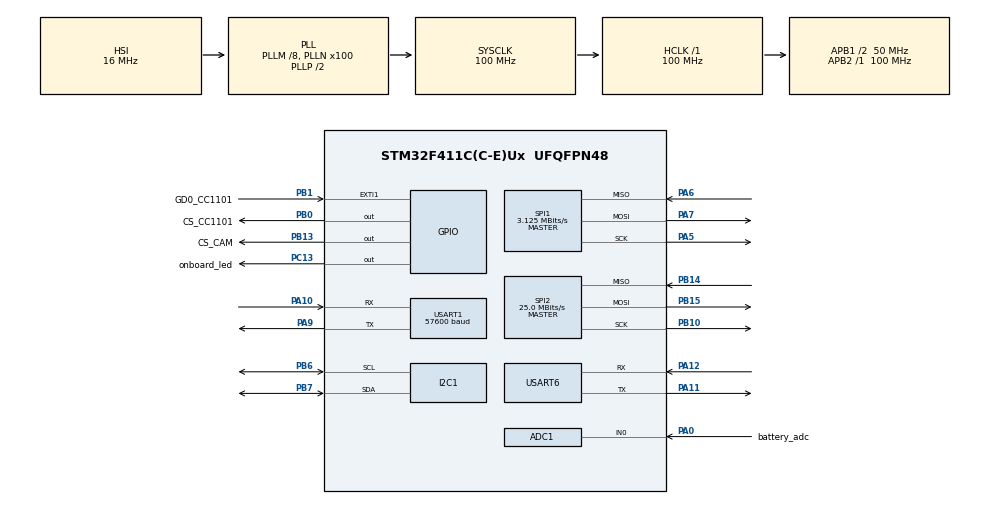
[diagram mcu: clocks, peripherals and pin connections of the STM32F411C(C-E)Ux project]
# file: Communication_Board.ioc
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ADC1.Channel-0\#ChannelRegularConversion=ADC_CHANNEL_0
ADC1.NbrOfConversionFlag=1
ADC1.Rank-0\#ChannelRegularConversion=1
ADC1.SamplingTime-0\#ChannelRegularConversion=ADC_SAMPLETIME_3CYCLES
ADC1.master=1
FREERTOS.Mutexes01=sensorDataMutex,Dynamic,NULL,Available
FREERTOS.Tasks01=heartBeatTask,8,128,StartHeartBeatTask,Default,NULL,Dynamic,NULL,NULL;radioTask,40,128,StartRadioTask,Default,NULL,Dynamic,NULL,NULL;senseTask,8,128,StartSenseTask,Default,NULL,Dynamic,NULL,NULL;opticalTask,24,128,StartOpticalTask,Default,NULL,Dynamic,NULL,NULL
I2C1.I2C_Mode=I2C_Standard
Mcu.Family=STM32F4
Mcu.Name=STM32F411C(C-E)Ux
Mcu.Package=UFQFPN48
NVIC.EXTI1_IRQn=true\:5\:0\:false\:false\:true\:true\:true\:true\:true
NVIC.PriorityGroup=NVIC_PRIORITYGROUP_4
NVIC.TIM1_TRG_COM_TIM11_IRQn=true\:15\:0\:false\:false\:true\:false\:false\:true\:true
NVIC.TimeBase=TIM1_TRG_COM_TIM11_IRQn
NVIC.TimeBaseIP=TIM11
PA0-WKUP.GPIO_Label=battery_adc
PA0-WKUP.Signal=ADCx_IN0
PA10.Mode=IrDA
PA10.Signal=USART1_RX
PA11.Mode=Asynchronous
PA11.Signal=USART6_TX
PA12.Mode=Asynchronous
PA12.Signal=USART6_RX
PA13.Mode=Serial_Wire
PA13.Signal=SYS_JTMS-SWDIO
PA14.Mode=Serial_Wire
PA14.Signal=SYS_JTCK-SWCLK
PA5.Mode=Full_Duplex_Master
PA5.Signal=SPI1_SCK
PA6.Mode=Full_Duplex_Master
PA6.Signal=SPI1_MISO
PA7.Mode=Full_Duplex_Master
PA7.Signal=SPI1_MOSI
PA9.Mode=IrDA
PA9.Signal=USART1_TX
PB0.GPIO_Label=CS_CC1101
PB0.Signal=GPIO_Output
PB1.GPIO_Label=GD0_CC1101
PB1.Signal=GPXTI1
PB10.Mode=Full_Duplex_Master
PB10.Signal=SPI2_SCK
PB13.GPIO_Label=CS_CAM
PB13.Signal=GPIO_Output
PB14.Mode=Full_Duplex_Master
PB14.Signal=SPI2_MISO
PB15.Mode=Full_Duplex_Master
PB15.Signal=SPI2_MOSI
PB6.Mode=I2C
PB6.Signal=I2C1_SCL
PB7.Mode=I2C
PB7.Signal=I2C1_SDA
PC13-ANTI_TAMP.GPIO_Label=onboard_led
PC13-ANTI_TAMP.Signal=GPIO_Output
ProjectManager.HeapSize=0x200
ProjectManager.StackSize=0x400
ProjectManager.TargetToolchain=CMake
RCC.48MHZClocksFreq_Value=50000000
RCC.AHBFreq_Value=100000000
RCC.APB1CLKDivider=RCC_HCLK_DIV2
RCC.APB1Freq_Value=50000000
RCC.APB1TimFreq_Value=100000000
RCC.APB2Freq_Value=100000000
RCC.APB2TimFreq_Value=100000000
RCC.CortexFreq_Value=100000000
RCC.HCLKFreq_Value=100000000
RCC.HSE_VALUE=25000000
RCC.HSI_VALUE=16000000
RCC.LSE_VALUE=32768
RCC.PLLM=8
RCC.PLLN=100
RCC.SYSCLKFreq_VALUE=100000000
RCC.SYSCLKSource=RCC_SYSCLKSOURCE_PLLCLK
RCC.VCOOutputFreq_Value=200000000
SH.ADCx_IN0.0=ADC1_IN0,IN0
SPI1.BaudRatePrescaler=SPI_BAUDRATEPRESCALER_32
SPI1.CalculateBaudRate=3.125 MBits/s
SPI1.Direction=SPI_DIRECTION_2LINES
SPI1.Mode=SPI_MODE_MASTER
SPI1.VirtualType=VM_MASTER
SPI2.CalculateBaudRate=25.0 MBits/s
SPI2.Direction=SPI_DIRECTION_2LINES
SPI2.Mode=SPI_MODE_MASTER
SPI2.VirtualType=VM_MASTER
USART1.BaudRate=57600
USART1.Mode=MODE_TX
USART1.VirtualMode=VM_IRDA
USART6.VirtualMode=VM_ASYNC
VP_FREERTOS_VS_CMSIS_V2.Mode=CMSIS_V2
VP_SYS_VS_tim11.Mode=TIM11
board=custom

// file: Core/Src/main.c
/* USER CODE BEGIN Header */
/**
  ******************************************************************************
  * @file           : main.c
  * @brief          : Main program body
  ******************************************************************************
  * @attention
  *
  * Copyright (c) 2026 STMicroelectronics.
  * All rights reserved.
  *
  * This software is licensed under terms that can be found in the LICENSE file
  * in the root directory of this software component.
  * If no LICENSE file comes with this software, it is provided AS-IS.
  *
  ******************************************************************************
  */
/* USER CODE END Header */
#include "main.h"
#include "cmsis_os.h"

/* USER CODE BEGIN Includes */
#include "cmsis_os2.h"
#include "stm32_hal_legacy.h"
#include <stdint.h>
#include "cc1101.h"
#include "mcp9808.h"
#include "stm32f4xx_hal_adc.h"
#include "stm32f4xx_hal_def.h"
#include "stm32f4xx_hal_i2c.h"
#include "stm32f4xx_hal_irda.h"
#include "stm32f4xx_hal_uart.h"
/* USER CODE END Includes */

/* USER CODE BEGIN PTD */
typedef struct {
  uint8_t cc1101_version;
  uint8_t cc1101_partnum;
  uint8_t rssi;
  uint8_t rx_buffer[64];
  uint8_t tx_buffer[64];
} RadioTaskContext_t;

typedef struct {
  float temperature_c;
  float battery_voltage;
  uint8_t battery_percentage;
} SenseTaskContext_t;

typedef struct __attribute__((packed)) {
  float temperature_c;
  float battery_voltage;
  uint8_t battery_percentage;
} TelemetryPacket_t;

typedef struct {
  uint8_t tx_counter;
} OpticalTaskContext_t;
/* USER CODE END PTD */

ADC_HandleTypeDef hadc1;

I2C_HandleTypeDef hi2c1;

SPI_HandleTypeDef hspi1;
SPI_HandleTypeDef hspi2;

IRDA_HandleTypeDef hirda1;
UART_HandleTypeDef huart6;

/* Definitions for heartBeatTask */
osThreadId_t heartBeatTaskHandle;
const osThreadAttr_t heartBeatTask_attributes = {
  .name = "heartBeatTask",
  .stack_size = 128 * 4,
  .priority = (osPriority_t) osPriorityLow,
};
/* Definitions for radioTask */
osThreadId_t radioTaskHandle;
const osThreadAttr_t radioTask_attributes = {
  .name = "radioTask",
  .stack_size = 128 * 4,
  .priority = (osPriority_t) osPriorityHigh,
};
/* Definitions for senseTask */
osThreadId_t senseTaskHandle;
const osThreadAttr_t senseTask_attributes = {
  .name = "senseTask",
  .stack_size = 128 * 4,
  .priority = (osPriority_t) osPriorityLow,
};
/* Definitions for opticalTask */
osThreadId_t opticalTaskHandle;
const osThreadAttr_t opticalTask_attributes = {
  .name = "opticalTask",
  .stack_size = 128 * 4,
  .priority = (osPriority_t) osPriorityNormal,
};
/* Definitions for sensorDataMutex */
osMutexId_t sensorDataMutexHandle;
const osMutexAttr_t sensorDataMutex_attributes = {
  .name = "sensorDataMutex"
};
/* USER CODE BEGIN PV */
static RadioTaskContext_t radio_ctx = {
  .cc1101_version = 0,
  .cc1101_partnum = 0
};

static SenseTaskContext_t sense_ctx = {
  .temperature_c = 0.0f
};

static TelemetryPacket_t telemetry_packet = {
  .temperature_c = 0.0f,
  .battery_voltage = 0.0f,
  .battery_percentage = 0
};

static OpticalTaskContext_t optical_context = {0};
/* USER CODE END PV */

void SystemClock_Config(void);
static void MX_GPIO_Init(void);
static void MX_I2C1_Init(void);
static void MX_SPI1_Init(void);
static void MX_SPI2_Init(void);
static void MX_USART1_IRDA_Init(void);
static void MX_ADC1_Init(void);
static void MX_USART6_UART_Init(void);
void StartHeartBeatTask(void *argument);
void StartRadioTask(void *argument);
void StartSenseTask(void *argument);
void StartOpticalTask(void *argument);

int main(void)
{

  /* MCU Configuration--------------------------------------------------------*/

  /* Reset of all peripherals, Initializes the Flash interface and the Systick. */
  HAL_Init();

  /* Configure the system clock */
  SystemClock_Config();

  /* Initialize all configured peripherals */
  MX_GPIO_Init();
  MX_I2C1_Init();
  MX_SPI1_Init();
  MX_SPI2_Init();
  MX_USART1_IRDA_Init();
  MX_ADC1_Init();
  MX_USART6_UART_Init();

  /* Init scheduler */
  osKernelInitialize();
  /* Create the mutex(es) */
  /* creation of sensorDataMutex */
  sensorDataMutexHandle = osMutexNew(&sensorDataMutex_attributes);

  /* Create the thread(s) */
  /* creation of heartBeatTask */
  heartBeatTaskHandle = osThreadNew(StartHeartBeatTask, NULL, &heartBeatTask_attributes);

  /* creation of radioTask */
  radioTaskHandle = osThreadNew(StartRadioTask, NULL, &radioTask_attributes);

  /* creation of senseTask */
  senseTaskHandle = osThreadNew(StartSenseTask, NULL, &senseTask_attributes);

  /* creation of opticalTask */
  opticalTaskHandle = osThreadNew(StartOpticalTask, NULL, &opticalTask_attributes);

  /* Start scheduler */
  osKernelStart();

  /* We should never get here as control is now taken by the scheduler */

  /* Infinite loop */
  while (1)
  {

  }
}

void SystemClock_Config(void)
{
  RCC_OscInitTypeDef RCC_OscInitStruct = {0};
  RCC_ClkInitTypeDef RCC_ClkInitStruct = {0};

  /** Configure the main internal regulator output voltage
  */
  __HAL_RCC_PWR_CLK_ENABLE();
  __HAL_PWR_VOLTAGESCALING_CONFIG(PWR_REGULATOR_VOLTAGE_SCALE1);

  /** Initializes the RCC Oscillators according to the specified parameters
  * in the RCC_OscInitTypeDef structure.
  */
  RCC_OscInitStruct.OscillatorType = RCC_OSCILLATORTYPE_HSI;
  RCC_OscInitStruct.HSIState = RCC_HSI_ON;
  RCC_OscInitStruct.HSICalibrationValue = RCC_HSICALIBRATION_DEFAULT;
  RCC_OscInitStruct.PLL.PLLState = RCC_PLL_ON;
  RCC_OscInitStruct.PLL.PLLSource = RCC_PLLSOURCE_HSI;
  RCC_OscInitStruct.PLL.PLLM = 8;
  RCC_OscInitStruct.PLL.PLLN = 100;
  RCC_OscInitStruct.PLL.PLLP = RCC_PLLP_DIV2;
  RCC_OscInitStruct.PLL.PLLQ = 4;
  if (HAL_RCC_OscConfig(&RCC_OscInitStruct) != HAL_OK)
  {
    Error_Handler();
  }

  /** Initializes the CPU, AHB and APB buses clocks
  */
  RCC_ClkInitStruct.ClockType = RCC_CLOCKTYPE_HCLK|RCC_CLOCKTYPE_SYSCLK
                              |RCC_CLOCKTYPE_PCLK1|RCC_CLOCKTYPE_PCLK2;
  RCC_ClkInitStruct.SYSCLKSource = RCC_SYSCLKSOURCE_PLLCLK;
  RCC_ClkInitStruct.AHBCLKDivider = RCC_SYSCLK_DIV1;
  RCC_ClkInitStruct.APB1CLKDivider = RCC_HCLK_DIV2;
  RCC_ClkInitStruct.APB2CLKDivider = RCC_HCLK_DIV1;

  if (HAL_RCC_ClockConfig(&RCC_ClkInitStruct, FLASH_LATENCY_3) != HAL_OK)
  {
    Error_Handler();
  }
}

static void MX_ADC1_Init(void)
{

  ADC_ChannelConfTypeDef sConfig = {0};

  /** Configure the global features of the ADC (Clock, Resolution, Data Alignment and number of conversion)
  */
  hadc1.Instance = ADC1;
  hadc1.Init.ClockPrescaler = ADC_CLOCK_SYNC_PCLK_DIV4;
  hadc1.Init.Resolution = ADC_RESOLUTION_12B;
  hadc1.Init.ScanConvMode = DISABLE;
  hadc1.Init.ContinuousConvMode = DISABLE;
  hadc1.Init.DiscontinuousConvMode = DISABLE;
  hadc1.Init.ExternalTrigConvEdge = ADC_EXTERNALTRIGCONVEDGE_NONE;
  hadc1.Init.ExternalTrigConv = ADC_SOFTWARE_START;
  hadc1.Init.DataAlign = ADC_DATAALIGN_RIGHT;
  hadc1.Init.NbrOfConversion = 1;
  hadc1.Init.DMAContinuousRequests = DISABLE;
  hadc1.Init.EOCSelection = ADC_EOC_SINGLE_CONV;
  if (HAL_ADC_Init(&hadc1) != HAL_OK)
  {
    Error_Handler();
  }

  /** Configure for the selected ADC regular channel its corresponding rank in the sequencer and its sample time.
  */
  sConfig.Channel = ADC_CHANNEL_0;
  sConfig.Rank = 1;
  sConfig.SamplingTime = ADC_SAMPLETIME_3CYCLES;
  if (HAL_ADC_ConfigChannel(&hadc1, &sConfig) != HAL_OK)
  {
    Error_Handler();
  }

}

static void MX_I2C1_Init(void)
{

  hi2c1.Instance = I2C1;
  hi2c1.Init.ClockSpeed = 100000;
  hi2c1.Init.DutyCycle = I2C_DUTYCYCLE_2;
  hi2c1.Init.OwnAddress1 = 0;
  hi2c1.Init.AddressingMode = I2C_ADDRESSINGMODE_7BIT;
  hi2c1.Init.DualAddressMode = I2C_DUALADDRESS_DISABLE;
  hi2c1.Init.OwnAddress2 = 0;
  hi2c1.Init.GeneralCallMode = I2C_GENERALCALL_DISABLE;
  hi2c1.Init.NoStretchMode = I2C_NOSTRETCH_DISABLE;
  if (HAL_I2C_Init(&hi2c1) != HAL_OK)
  {
    Error_Handler();
  }

}

static void MX_SPI1_Init(void)
{

  /* SPI1 parameter configuration*/
  hspi1.Instance = SPI1;
  hspi1.Init.Mode = SPI_MODE_MASTER;
  hspi1.Init.Direction = SPI_DIRECTION_2LINES;
  hspi1.Init.DataSize = SPI_DATASIZE_8BIT;
  hspi1.Init.CLKPolarity = SPI_POLARITY_LOW;
  hspi1.Init.CLKPhase = SPI_PHASE_1EDGE;
  hspi1.Init.NSS = SPI_NSS_SOFT;
  hspi1.Init.BaudRatePrescaler = SPI_BAUDRATEPRESCALER_32;
  hspi1.Init.FirstBit = SPI_FIRSTBIT_MSB;
  hspi1.Init.TIMode = SPI_TIMODE_DISABLE;
  hspi1.Init.CRCCalculation = SPI_CRCCALCULATION_DISABLE;
  hspi1.Init.CRCPolynomial = 10;
  if (HAL_SPI_Init(&hspi1) != HAL_OK)
  {
    Error_Handler();
  }

}

static void MX_SPI2_Init(void)
{

  /* SPI2 parameter configuration*/
  hspi2.Instance = SPI2;
  hspi2.Init.Mode = SPI_MODE_MASTER;
  hspi2.Init.Direction = SPI_DIRECTION_2LINES;
  hspi2.Init.DataSize = SPI_DATASIZE_8BIT;
  hspi2.Init.CLKPolarity = SPI_POLARITY_LOW;
  hspi2.Init.CLKPhase = SPI_PHASE_1EDGE;
  hspi2.Init.NSS = SPI_NSS_SOFT;
  hspi2.Init.BaudRatePrescaler = SPI_BAUDRATEPRESCALER_2;
  hspi2.Init.FirstBit = SPI_FIRSTBIT_MSB;
  hspi2.Init.TIMode = SPI_TIMODE_DISABLE;
  hspi2.Init.CRCCalculation = SPI_CRCCALCULATION_DISABLE;
  hspi2.Init.CRCPolynomial = 10;
  if (HAL_SPI_Init(&hspi2) != HAL_OK)
  {
    Error_Handler();
  }

}

static void MX_USART1_IRDA_Init(void)
{

  hirda1.Instance = USART1;
  hirda1.Init.BaudRate = 57600;
  hirda1.Init.WordLength = IRDA_WORDLENGTH_8B;
  hirda1.Init.Parity = IRDA_PARITY_NONE;
  hirda1.Init.Mode = IRDA_MODE_TX;
  hirda1.Init.Prescaler = 1;
  hirda1.Init.IrDAMode = IRDA_POWERMODE_NORMAL;
  if (HAL_IRDA_Init(&hirda1) != HAL_OK)
  {
    Error_Handler();
  }

}

static void MX_USART6_UART_Init(void)
{

  huart6.Instance = USART6;
  huart6.Init.BaudRate = 115200;
  huart6.Init.WordLength = UART_WORDLENGTH_8B;
  huart6.Init.StopBits = UART_STOPBITS_1;
  huart6.Init.Parity = UART_PARITY_NONE;
  huart6.Init.Mode = UART_MODE_TX_RX;
  huart6.Init.HwFlowCtl = UART_HWCONTROL_NONE;
  huart6.Init.OverSampling = UART_OVERSAMPLING_16;
  if (HAL_UART_Init(&huart6) != HAL_OK)
  {
    Error_Handler();
  }

}

static void MX_GPIO_Init(void)
{
  GPIO_InitTypeDef GPIO_InitStruct = {0};

  /* GPIO Ports Clock Enable */
  __HAL_RCC_GPIOC_CLK_ENABLE();
  __HAL_RCC_GPIOA_CLK_ENABLE();
  __HAL_RCC_GPIOB_CLK_ENABLE();

  /*Configure GPIO pin Output Level */
  HAL_GPIO_WritePin(onboard_led_GPIO_Port, onboard_led_Pin, GPIO_PIN_RESET);

  /*Configure GPIO pin Output Level */
  HAL_GPIO_WritePin(GPIOB, CS_CC1101_Pin|CS_CAM_Pin, GPIO_PIN_RESET);

  /*Configure GPIO pin : onboard_led_Pin */
  GPIO_InitStruct.Pin = onboard_led_Pin;
  GPIO_InitStruct.Mode = GPIO_MODE_OUTPUT_PP;
  GPIO_InitStruct.Pull = GPIO_NOPULL;
  GPIO_InitStruct.Speed = GPIO_SPEED_FREQ_LOW;
  HAL_GPIO_Init(onboard_led_GPIO_Port, &GPIO_InitStruct);

  /*Configure GPIO pins : CS_CC1101_Pin CS_CAM_Pin */
  GPIO_InitStruct.Pin = CS_CC1101_Pin|CS_CAM_Pin;
  GPIO_InitStruct.Mode = GPIO_MODE_OUTPUT_PP;
  GPIO_InitStruct.Pull = GPIO_NOPULL;
  GPIO_InitStruct.Speed = GPIO_SPEED_FREQ_LOW;
  HAL_GPIO_Init(GPIOB, &GPIO_InitStruct);

  /*Configure GPIO pin : GD0_CC1101_Pin */
  GPIO_InitStruct.Pin = GD0_CC1101_Pin;
  GPIO_InitStruct.Mode = GPIO_MODE_IT_RISING;
  GPIO_InitStruct.Pull = GPIO_NOPULL;
  HAL_GPIO_Init(GD0_CC1101_GPIO_Port, &GPIO_InitStruct);

  /* EXTI interrupt init*/
  HAL_NVIC_SetPriority(EXTI1_IRQn, 5, 0);
  HAL_NVIC_EnableIRQ(EXTI1_IRQn);

}

/* USER CODE BEGIN 4 */

float Calculate_Battery_Voltage(uint16_t raw_adc) {
    return (float)raw_adc * 0.00117216f;
}

uint8_t Calculate_Battery_Percentage(float voltage) {
    // 1. Above max threshold (Charging or fully charged)
    if (voltage >= 4.20f) return 100;

    // 2. High plateau (4.0V to 4.2V -> 80% to 100%)
    if (voltage >= 4.00f) {
        return 80 + (uint8_t)(20.0f * ((voltage - 4.00f) / 0.20f));
    }

    // 3. Middle flat plateau (3.85V to 4.0V -> 50% to 80%)
    if (voltage >= 3.85f) {
        return 50 + (uint8_t)(30.0f * ((voltage - 3.85f) / 0.15f));
    }

    // 4. The knee - dropping fast (3.7V to 3.85V -> 20% to 50%)
    if (voltage >= 3.70f) {
        return 20 + (uint8_t)(30.0f * ((voltage - 3.70f) / 0.15f));
    }

    // 5. Critical drop-off (3.2V to 3.7V -> 0% to 20%)
    if (voltage > 3.20f) {
        return (uint8_t)(20.0f * ((voltage - 3.20f) / 0.50f));
    }

    // 6. Below cut-off (Dead battery)
    return 0;
}

void HAL_GPIO_EXTI_Callback(uint16_t GPIO_Pin)
{
  if (GPIO_Pin == GD0_CC1101_Pin)
  {
    osThreadFlagsSet(radioTaskHandle, CC1101_RX_FLAG);
  }
}
/* USER CODE END 4 */

void StartHeartBeatTask(void *argument)
{
  /* USER CODE BEGIN 5 */
  /* Infinite loop */
  for(;;)
  {
    HAL_GPIO_TogglePin(onboard_led_GPIO_Port, onboard_led_Pin);
    osDelay(500);
  }
  /* USER CODE END 5 */
}

void StartRadioTask(void *argument)
{
  /* USER CODE BEGIN StartRadioTask */
  CC1101_t cc1101 = {
    .hspi = &hspi1,
    .csPort = CS_CC1101_GPIO_Port,
    .csPin = CS_CC1101_Pin,
    .gdo0Port = GD0_CC1101_GPIO_Port,
    .gdo0Pin = GD0_CC1101_Pin
  };

  if (!CC1101_Init(&cc1101)) {
    // Initialization failed, handle error (e.g., log, retry, etc.)
    while(1) {
      // Blink error code on LED (e.g., 2 blinks for init failure)
      HAL_GPIO_TogglePin(onboard_led_GPIO_Port, onboard_led_Pin);
      osDelay(200);
      HAL_GPIO_TogglePin(onboard_led_GPIO_Port, onboard_led_Pin);
      osDelay(800);
    }
  }

  radio_ctx.cc1101_version = CC1101_ReadReg(&cc1101, CC1101_VERSION);
  radio_ctx.cc1101_partnum = CC1101_ReadReg(&cc1101, CC1101_PARTNUM);

  // Lower power for Part 15 compliance
  uint8_t pa_table_low_power = 0x12;
  CC1101_WriteReg(&cc1101, CC1101_PA_TABLE, pa_table_low_power);

  /* Infinite loop */
  uint32_t last_tx_time = osKernelGetTickCount();
  for(;;)
  {

    uint32_t flags = osThreadFlagsWait(CC1101_RX_FLAG, osFlagsWaitAny, 100);

    if ((flags & CC1101_RX_FLAG) == CC1101_RX_FLAG)
    {
      uint8_t rx_len = CC1101_ReceivePacket(&cc1101, radio_ctx.rx_buffer);

      if (rx_len > 0){
        HAL_UART_Transmit(&huart6, radio_ctx.rx_buffer, rx_len, HAL_MAX_DELAY);
        radio_ctx.rssi = CC1101_GetRSSI(radio_ctx.rx_buffer, rx_len);
      }

      CC1101_Strobe(&cc1101, CC1101_SRX);
    }

    if (osKernelGetTickCount() - last_tx_time >= 1000) // Transmit every 1 second
    {
      if (osMutexAcquire(sensorDataMutexHandle, osWaitForever) == osOK)
      {
        telemetry_packet.temperature_c = sense_ctx.temperature_c;
        telemetry_packet.battery_voltage = sense_ctx.battery_voltage;
        telemetry_packet.battery_percentage = sense_ctx.battery_percentage;
        osMutexRelease(sensorDataMutexHandle);

        CC1101_SendPacket(&cc1101, (uint8_t*)&telemetry_packet, sizeof(telemetry_packet));
        CC1101_Strobe(&cc1101, CC1101_SRX);
        last_tx_time = osKernelGetTickCount();
      }
    }
  }
  /* USER CODE END StartRadioTask */
}

void StartSenseTask(void *argument)
{
  /* USER CODE BEGIN StartSenseTask */
  uint16_t adc_value = 0;

  if (MCP9808_Init(&hi2c1) != HAL_OK)
  {
    while(1)
    {
      // Blink error code on LED (e.g., 3 blinks for init failure)
      HAL_GPIO_TogglePin(onboard_led_GPIO_Port, onboard_led_Pin);
      osDelay(200);
      HAL_GPIO_TogglePin(onboard_led_GPIO_Port, onboard_led_Pin);
      osDelay(200);
      HAL_GPIO_TogglePin(onboard_led_GPIO_Port, onboard_led_Pin);
      osDelay(600);
    }
  }
  /* Infinite loop */
  for(;;)
  {
    HAL_ADC_Start(&hadc1);
    if (HAL_ADC_PollForConversion(&hadc1, 100) == HAL_OK)
    {
      adc_value = HAL_ADC_GetValue(&hadc1);
    }
    HAL_ADC_Stop(&hadc1);

    float   temp_v = Calculate_Battery_Voltage(adc_value);
    uint8_t temp_p = Calculate_Battery_Percentage(3.6f);
    float   temp_c = MCP9808_ReadTemperature(&hi2c1);

    if (osMutexAcquire(sensorDataMutexHandle, osWaitForever) == osOK)
    {
      sense_ctx.temperature_c = temp_c;
      sense_ctx.battery_voltage = temp_v;
      sense_ctx.battery_percentage = temp_p;
      osMutexRelease(sensorDataMutexHandle);
    }

    osDelay(2000);
  }
  /* USER CODE END StartSenseTask */
}

void StartOpticalTask(void *argument)
{
  /* USER CODE BEGIN StartOpticalTask */
  /* Infinite loop */
  for(;;)
  {
    HAL_IRDA_Transmit(&hirda1, &optical_context.tx_counter, 1, HAL_MAX_DELAY);
    optical_context.tx_counter++;
    osDelay(1000);
  }
  /* USER CODE END StartOpticalTask */
}

void HAL_TIM_PeriodElapsedCallback(TIM_HandleTypeDef *htim)
{
  if (htim->Instance == TIM11)
  {
    HAL_IncTick();
  }
}

void Error_Handler(void)
{
  __disable_irq();
  while (1)
  {
  }
}
